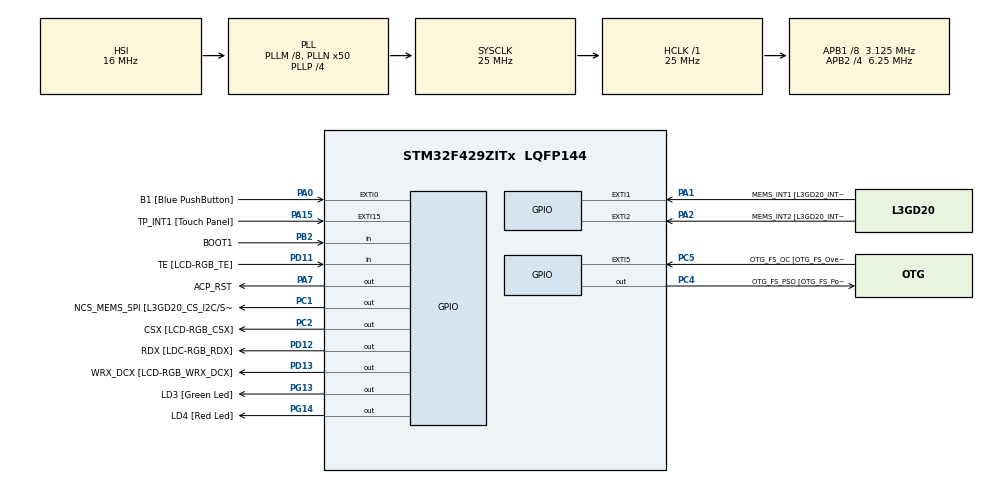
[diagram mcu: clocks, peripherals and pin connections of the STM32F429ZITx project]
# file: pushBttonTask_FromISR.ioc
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Mcu.Family=STM32F4
Mcu.Name=STM32F429ZITx
Mcu.Package=LQFP144
NVIC.EXTI0_IRQn=true\:6\:0\:true\:false\:true\:true\:true\:true
NVIC.PriorityGroup=NVIC_PRIORITYGROUP_4
NVIC.TIM6_DAC_IRQn=true\:15\:0\:false\:false\:true\:false\:true\:true
NVIC.TimeBase=TIM6_DAC_IRQn
NVIC.TimeBaseIP=TIM6
PA0/WKUP.GPIO_Label=B1 [Blue PushButton]
PA0/WKUP.GPIO_ModeDefaultEXTI=GPIO_MODE_IT_RISING
PA0/WKUP.GPIO_PuPd=GPIO_NOPULL
PA0/WKUP.Signal=GPXTI0
PA1.GPIO_Label=MEMS_INT1 [L3GD20_INT1]
PA1.GPIO_ModeDefaultEXTI=GPIO_MODE_EVT_RISING
PA1.GPIO_PuPd=GPIO_NOPULL
PA1.Signal=GPXTI1
PA10.GPIO_Label=STLINK_TX [STM32F103CBT6_PA2]
PA10.Signal=USART1_RX
PA11.GPIO_Label=R4
PA11.GPIO_Mode=GPIO_MODE_AF_PP
PA11.GPIO_PuPd=GPIO_NOPULL
PA11.GPIO_Speed=GPIO_SPEED_FREQ_LOW
PA11.Signal=LTDC_R4
PA12.GPIO_Label=R5
PA12.GPIO_Mode=GPIO_MODE_AF_PP
PA12.GPIO_PuPd=GPIO_NOPULL
PA12.GPIO_Speed=GPIO_SPEED_FREQ_LOW
PA12.Signal=LTDC_R5
PA13.GPIO_Label=SWDIO
PA13.Signal=SYS_JTMS-SWDIO
PA14.GPIO_Label=SWCLK
PA14.Signal=SYS_JTCK-SWCLK
PA15.GPIO_Label=TP_INT1 [Touch Panel]
PA15.GPIO_ModeDefaultEXTI=GPIO_MODE_EVT_RISING
PA15.GPIO_PuPd=GPIO_NOPULL
PA15.Signal=GPXTI15
PA2.GPIO_Label=MEMS_INT2 [L3GD20_INT2]
PA2.GPIO_ModeDefaultEXTI=GPIO_MODE_EVT_RISING
PA2.GPIO_PuPd=GPIO_NOPULL
PA2.Signal=GPXTI2
PA3.GPIO_Label=B5
PA3.GPIO_Mode=GPIO_MODE_AF_PP
PA3.GPIO_PuPd=GPIO_NOPULL
PA3.GPIO_Speed=GPIO_SPEED_FREQ_LOW
PA3.Signal=LTDC_B5
PA4.GPIO_Label=VSYNC
PA4.GPIO_Mode=GPIO_MODE_AF_PP
PA4.GPIO_PuPd=GPIO_NOPULL
PA4.GPIO_Speed=GPIO_SPEED_FREQ_LOW
PA4.Signal=LTDC_VSYNC
PA6.GPIO_Label=G2
PA6.GPIO_Mode=GPIO_MODE_AF_PP
PA6.GPIO_PuPd=GPIO_NOPULL
PA6.GPIO_Speed=GPIO_SPEED_FREQ_LOW
PA6.Signal=LTDC_G2
PA7.GPIO_Label=ACP_RST
PA7.GPIO_Mode=GPIO_MODE_OUTPUT_PP
PA7.GPIO_PuPd=GPIO_NOPULL
PA7.GPIO_Speed=GPIO_SPEED_FREQ_LOW
PA7.Signal=GPIO_Output
PA8.GPIO_Label=I2C3_SCL [ACP/RF_SCL]
PA8.GPIO_Mode=GPIO_MODE_AF_OD
PA8.GPIO_PuPd=GPIO_NOPULL
PA8.GPIO_Speed=GPIO_SPEED_FREQ_LOW
PA8.Signal=I2C3_SCL
PA9.GPIO_Label=STLINK_RX [STM32F103CBT6_PA3]
PA9.Signal=USART1_TX
PB0.GPIO_Label=R3
PB0.GPIO_Mode=GPIO_MODE_AF_PP
PB0.GPIO_PuPd=GPIO_NOPULL
PB0.GPIO_Speed=GPIO_SPEED_FREQ_LOW
PB0.Signal=LTDC_R3
PB1.GPIO_Label=R6
PB1.GPIO_Mode=GPIO_MODE_AF_PP
PB1.GPIO_PuPd=GPIO_NOPULL
PB1.GPIO_Speed=GPIO_SPEED_FREQ_LOW
PB1.Signal=LTDC_R6
PB10.GPIO_Label=G4
PB10.GPIO_Mode=GPIO_MODE_AF_PP
PB10.GPIO_PuPd=GPIO_NOPULL
PB10.GPIO_Speed=GPIO_SPEED_FREQ_LOW
PB10.Signal=LTDC_G4
PB11.GPIO_Label=G5
PB11.GPIO_Mode=GPIO_MODE_AF_PP
PB11.GPIO_PuPd=GPIO_NOPULL
PB11.GPIO_Speed=GPIO_SPEED_FREQ_LOW
PB11.Signal=LTDC_G5
PB12.GPIO_Label=OTG_HS_ID
PB12.GPIO_Mode=GPIO_MODE_AF_PP
PB12.GPIO_PuPd=GPIO_NOPULL
PB12.GPIO_Speed=GPIO_SPEED_FREQ_LOW
PB12.Signal=USB_OTG_HS_ID
PB13.GPIO_Label=VBUS_HS
PB13.GPIO_Mode=GPIO_MODE_INPUT
PB13.GPIO_PuPd=GPIO_NOPULL
PB13.Signal=USB_OTG_HS_VBUS
PB14.GPIO_Label=OTG_HS_DM
PB14.GPIO_Mode=GPIO_MODE_AF_PP
PB14.GPIO_PuPd=GPIO_NOPULL
PB14.GPIO_Speed=GPIO_SPEED_FREQ_LOW
PB14.Signal=USB_OTG_HS_DM
PB15.GPIO_Label=OTG_HS_DP
PB15.GPIO_Mode=GPIO_MODE_AF_PP
PB15.GPIO_PuPd=GPIO_NOPULL
PB15.GPIO_Speed=GPIO_SPEED_FREQ_LOW
PB15.Signal=USB_OTG_HS_DP
PB2/BOOT1.GPIO_Label=BOOT1
PB2/BOOT1.GPIO_Mode=GPIO_MODE_INPUT
PB2/BOOT1.GPIO_PuPd=GPIO_NOPULL
PB2/BOOT1.Signal=GPIO_Input
PB5.GPIO_Label=SDCKE1
PB5.GPIO_Mode=GPIO_MODE_AF_PP
PB5.GPIO_PuPd=GPIO_NOPULL
PB5.GPIO_Speed=GPIO_SPEED_FREQ_VERY_HIGH
PB5.Signal=FMC_SDCKE1
PB6.GPIO_Label=SDNE1 [SDRAM_CS]
PB6.GPIO_Mode=GPIO_MODE_AF_PP
PB6.GPIO_PuPd=GPIO_NOPULL
PB6.GPIO_Speed=GPIO_SPEED_FREQ_VERY_HIGH
PB6.Signal=FMC_SDNE1
PB8.GPIO_Label=B6
PB8.GPIO_Mode=GPIO_MODE_AF_PP
PB8.GPIO_PuPd=GPIO_NOPULL
PB8.GPIO_Speed=GPIO_SPEED_FREQ_LOW
PB8.Signal=LTDC_B6
PB9.GPIO_Label=B7
PB9.GPIO_Mode=GPIO_MODE_AF_PP
PB9.GPIO_PuPd=GPIO_NOPULL
PB9.GPIO_Speed=GPIO_SPEED_FREQ_LOW
PB9.Signal=LTDC_B7
PC0.GPIO_Label=SDNWE
PC0.GPIO_Mode=GPIO_MODE_AF_PP
PC0.GPIO_PuPd=GPIO_NOPULL
PC0.GPIO_Speed=GPIO_SPEED_FREQ_VERY_HIGH
PC0.Signal=FMC_SDNWE
PC1.GPIO_Label=NCS_MEMS_SPI [L3GD20_CS_I2C/SPI]
PC1.GPIO_Mode=GPIO_MODE_OUTPUT_PP
PC1.GPIO_PuPd=GPIO_NOPULL
PC1.GPIO_Speed=GPIO_SPEED_FREQ_LOW
PC1.Signal=GPIO_Output
PC10.GPIO_Label=R2
PC10.GPIO_Mode=GPIO_MODE_AF_PP
PC10.GPIO_PuPd=GPIO_NOPULL
PC10.GPIO_Speed=GPIO_SPEED_FREQ_LOW
PC10.Signal=LTDC_R2
PC14/OSC32_IN.GPIO_Label=PC14-OSC32_IN
PC14/OSC32_IN.Signal=RCC_OSC32_IN
PC15/OSC32_OUT.GPIO_Label=PC15-OSC32_OUT
PC15/OSC32_OUT.Signal=RCC_OSC32_OUT
PC2.GPIO_Label=CSX [LCD-RGB_CSX]
PC2.GPIO_Mode=GPIO_MODE_OUTPUT_PP
PC2.GPIO_PuPd=GPIO_NOPULL
PC2.GPIO_Speed=GPIO_SPEED_FREQ_LOW
PC2.Signal=GPIO_Output
PC4.GPIO_Label=OTG_FS_PSO [OTG_FS_PowerSwitchOn]
PC4.GPIO_Mode=GPIO_MODE_OUTPUT_PP
PC4.GPIO_PuPd=GPIO_NOPULL
PC4.GPIO_Speed=GPIO_SPEED_FREQ_LOW
PC4.Signal=GPIO_Output
PC5.GPIO_Label=OTG_FS_OC [OTG_FS_OverCurrent]
PC5.GPIO_ModeDefaultEXTI=GPIO_MODE_EVT_RISING
PC5.Signal=GPXTI5
PC6.GPIO_Label=HSYNC
PC6.GPIO_Mode=GPIO_MODE_AF_PP
PC6.GPIO_PuPd=GPIO_NOPULL
PC6.GPIO_Speed=GPIO_SPEED_FREQ_LOW
PC6.Signal=LTDC_HSYNC
PC7.GPIO_Label=G6
PC7.GPIO_Mode=GPIO_MODE_AF_PP
PC7.GPIO_PuPd=GPIO_NOPULL
PC7.GPIO_Speed=GPIO_SPEED_FREQ_LOW
PC7.Signal=LTDC_G6
PC9.GPIO_Label=I2C3_SDA [ACP/RF_SDA]
PC9.GPIO_Mode=GPIO_MODE_AF_OD
PC9.GPIO_PuPd=GPIO_NOPULL
PC9.GPIO_Speed=GPIO_SPEED_FREQ_LOW
PC9.Signal=I2C3_SDA
PD0.GPIO_Label=D2
PD0.GPIO_Mode=GPIO_MODE_AF_PP
PD0.GPIO_PuPd=GPIO_NOPULL
PD0.GPIO_Speed=GPIO_SPEED_FREQ_VERY_HIGH
PD0.Signal=FMC_D2_DA2
PD1.GPIO_Label=D3
PD1.GPIO_Mode=GPIO_MODE_AF_PP
PD1.GPIO_PuPd=GPIO_NOPULL
PD1.GPIO_Speed=GPIO_SPEED_FREQ_VERY_HIGH
PD1.Signal=FMC_D3_DA3
PD10.GPIO_Label=D15
PD10.GPIO_Mode=GPIO_MODE_AF_PP
PD10.GPIO_PuPd=GPIO_NOPULL
PD10.GPIO_Speed=GPIO_SPEED_FREQ_VERY_HIGH
PD10.Signal=FMC_D15_DA15
PD11.GPIO_Label=TE [LCD-RGB_TE]
PD11.GPIO_Mode=GPIO_MODE_INPUT
PD11.GPIO_PuPd=GPIO_NOPULL
PD11.Signal=GPIO_Input
PD12.GPIO_Label=RDX [LDC-RGB_RDX]
PD12.GPIO_Mode=GPIO_MODE_OUTPUT_PP
PD12.GPIO_PuPd=GPIO_NOPULL
PD12.GPIO_Speed=GPIO_SPEED_FREQ_LOW
PD12.Signal=GPIO_Output
PD13.GPIO_Label=WRX_DCX [LCD-RGB_WRX_DCX]
PD13.GPIO_Mode=GPIO_MODE_OUTPUT_PP
PD13.GPIO_PuPd=GPIO_NOPULL
PD13.GPIO_Speed=GPIO_SPEED_FREQ_LOW
PD13.Signal=GPIO_Output
PD14.GPIO_Label=D0
PD14.GPIO_Mode=GPIO_MODE_AF_PP
PD14.GPIO_PuPd=GPIO_NOPULL
PD14.GPIO_Speed=GPIO_SPEED_FREQ_VERY_HIGH
PD14.Signal=FMC_D0_DA0
PD15.GPIO_Label=D1
PD15.GPIO_Mode=GPIO_MODE_AF_PP
PD15.GPIO_PuPd=GPIO_NOPULL
PD15.GPIO_Speed=GPIO_SPEED_FREQ_VERY_HIGH
PD15.Signal=FMC_D1_DA1
PD3.GPIO_Label=G7
PD3.GPIO_Mode=GPIO_MODE_AF_PP
PD3.GPIO_PuPd=GPIO_NOPULL
PD3.GPIO_Speed=GPIO_SPEED_FREQ_LOW
PD3.Signal=LTDC_G7
PD6.GPIO_Label=B2
PD6.GPIO_Mode=GPIO_MODE_AF_PP
PD6.GPIO_PuPd=GPIO_NOPULL
PD6.GPIO_Speed=GPIO_SPEED_FREQ_LOW
PD6.Signal=LTDC_B2
PD8.GPIO_Label=D13
PD8.GPIO_Mode=GPIO_MODE_AF_PP
PD8.GPIO_PuPd=GPIO_NOPULL
PD8.GPIO_Speed=GPIO_SPEED_FREQ_VERY_HIGH
PD8.Signal=FMC_D13_DA13
PD9.GPIO_Label=D14
PD9.GPIO_Mode=GPIO_MODE_AF_PP
PD9.GPIO_PuPd=GPIO_NOPULL
PD9.GPIO_Speed=GPIO_SPEED_FREQ_VERY_HIGH
PD9.Signal=FMC_D14_DA14
PE0.GPIO_Label=NBL0 [SDRAM_LDQM]
PE0.GPIO_Mode=GPIO_MODE_AF_PP
PE0.GPIO_PuPd=GPIO_NOPULL
PE0.GPIO_Speed=GPIO_SPEED_FREQ_VERY_HIGH
PE0.Signal=FMC_NBL0
PE1.GPIO_Label=NBL1 [SDRAM_UDQM]
PE1.GPIO_Mode=GPIO_MODE_AF_PP
PE1.GPIO_PuPd=GPIO_NOPULL
PE1.GPIO_Speed=GPIO_SPEED_FREQ_VERY_HIGH
PE1.Signal=FMC_NBL1
PE10.GPIO_Label=D7
PE10.GPIO_Mode=GPIO_MODE_AF_PP
PE10.GPIO_PuPd=GPIO_NOPULL
PE10.GPIO_Speed=GPIO_SPEED_FREQ_VERY_HIGH
PE10.Signal=FMC_D7_DA7
PE11.GPIO_Label=D8
PE11.GPIO_Mode=GPIO_MODE_AF_PP
PE11.GPIO_PuPd=GPIO_NOPULL
PE11.GPIO_Speed=GPIO_SPEED_FREQ_VERY_HIGH
PE11.Signal=FMC_D8_DA8
PE12.GPIO_Label=D9
PE12.GPIO_Mode=GPIO_MODE_AF_PP
PE12.GPIO_PuPd=GPIO_NOPULL
PE12.GPIO_Speed=GPIO_SPEED_FREQ_VERY_HIGH
PE12.Signal=FMC_D9_DA9
PE13.GPIO_Label=D10
PE13.GPIO_Mode=GPIO_MODE_AF_PP
PE13.GPIO_PuPd=GPIO_NOPULL
PE13.GPIO_Speed=GPIO_SPEED_FREQ_VERY_HIGH
PE13.Signal=FMC_D10_DA10
PE14.GPIO_Label=D11
PE14.GPIO_Mode=GPIO_MODE_AF_PP
PE14.GPIO_PuPd=GPIO_NOPULL
PE14.GPIO_Speed=GPIO_SPEED_FREQ_VERY_HIGH
PE14.Signal=FMC_D11_DA11
PE15.GPIO_Label=D12
PE15.GPIO_Mode=GPIO_MODE_AF_PP
PE15.GPIO_PuPd=GPIO_NOPULL
PE15.GPIO_Speed=GPIO_SPEED_FREQ_VERY_HIGH
PE15.Signal=FMC_D12_DA12
PE7.GPIO_Label=D4
PE7.GPIO_Mode=GPIO_MODE_AF_PP
PE7.GPIO_PuPd=GPIO_NOPULL
PE7.GPIO_Speed=GPIO_SPEED_FREQ_VERY_HIGH
PE7.Signal=FMC_D4_DA4
PE8.GPIO_Label=D5
PE8.GPIO_Mode=GPIO_MODE_AF_PP
PE8.GPIO_PuPd=GPIO_NOPULL
PE8.GPIO_Speed=GPIO_SPEED_FREQ_VERY_HIGH
PE8.Signal=FMC_D5_DA5
PE9.GPIO_Label=D6
PE9.GPIO_Mode=GPIO_MODE_AF_PP
PE9.GPIO_PuPd=GPIO_NOPULL
PE9.GPIO_Speed=GPIO_SPEED_FREQ_VERY_HIGH
PE9.Signal=FMC_D6_DA6
PF0.GPIO_Label=A0
PF0.GPIO_Mode=GPIO_MODE_AF_PP
PF0.GPIO_PuPd=GPIO_NOPULL
PF0.GPIO_Speed=GPIO_SPEED_FREQ_VERY_HIGH
PF0.Signal=FMC_A0
PF1.GPIO_Label=A1
PF1.GPIO_Mode=GPIO_MODE_AF_PP
PF1.GPIO_PuPd=GPIO_NOPULL
PF1.GPIO_Speed=GPIO_SPEED_FREQ_VERY_HIGH
PF1.Signal=FMC_A1
PF10.GPIO_Label=ENABLE [LCD-RGB_ENABLE]
PF10.GPIO_Mode=GPIO_MODE_AF_PP
PF10.GPIO_PuPd=GPIO_NOPULL
PF10.GPIO_Speed=GPIO_SPEED_FREQ_LOW
PF10.Signal=LTDC_DE
PF11.GPIO_Label=SDNRAS
PF11.GPIO_Mode=GPIO_MODE_AF_PP
PF11.GPIO_PuPd=GPIO_NOPULL
PF11.GPIO_Speed=GPIO_SPEED_FREQ_VERY_HIGH
PF11.Signal=FMC_SDNRAS
PF12.GPIO_Label=A6
PF12.GPIO_Mode=GPIO_MODE_AF_PP
PF12.GPIO_PuPd=GPIO_NOPULL
PF12.GPIO_Speed=GPIO_SPEED_FREQ_VERY_HIGH
PF12.Signal=FMC_A6
PF13.GPIO_Label=A7
PF13.GPIO_Mode=GPIO_MODE_AF_PP
PF13.GPIO_PuPd=GPIO_NOPULL
PF13.GPIO_Speed=GPIO_SPEED_FREQ_VERY_HIGH
PF13.Signal=FMC_A7
PF14.GPIO_Label=A8
PF14.GPIO_Mode=GPIO_MODE_AF_PP
PF14.GPIO_PuPd=GPIO_NOPULL
PF14.GPIO_Speed=GPIO_SPEED_FREQ_VERY_HIGH
PF14.Signal=FMC_A8
PF15.GPIO_Label=A9
PF15.GPIO_Mode=GPIO_MODE_AF_PP
PF15.GPIO_PuPd=GPIO_NOPULL
PF15.GPIO_Speed=GPIO_SPEED_FREQ_VERY_HIGH
PF15.Signal=FMC_A9
PF2.GPIO_Label=A2
PF2.GPIO_Mode=GPIO_MODE_AF_PP
PF2.GPIO_PuPd=GPIO_NOPULL
PF2.GPIO_Speed=GPIO_SPEED_FREQ_VERY_HIGH
PF2.Signal=FMC_A2
PF3.GPIO_Label=A3
PF3.GPIO_Mode=GPIO_MODE_AF_PP
PF3.GPIO_PuPd=GPIO_NOPULL
PF3.GPIO_Speed=GPIO_SPEED_FREQ_VERY_HIGH
PF3.Signal=FMC_A3
PF4.GPIO_Label=A4
PF4.GPIO_Mode=GPIO_MODE_AF_PP
PF4.GPIO_PuPd=GPIO_NOPULL
PF4.GPIO_Speed=GPIO_SPEED_FREQ_VERY_HIGH
PF4.Signal=FMC_A4
PF5.GPIO_Label=A5
PF5.GPIO_Mode=GPIO_MODE_AF_PP
PF5.GPIO_PuPd=GPIO_NOPULL
PF5.GPIO_Speed=GPIO_SPEED_FREQ_VERY_HIGH
PF5.Signal=FMC_A5
PF7.GPIO_Label=SPI5_SCK [L3GD20_SCL/SPC]
PF7.GPIO_Mode=GPIO_MODE_AF_PP
PF7.GPIO_PuPd=GPIO_NOPULL
PF7.GPIO_Speed=GPIO_SPEED_FREQ_LOW
PF7.Signal=SPI5_SCK
PF8.GPIO_Label=SPI5_MISO [L3GD20_SDO]
PF8.GPIO_Mode=GPIO_MODE_AF_PP
PF8.GPIO_PuPd=GPIO_NOPULL
PF8.GPIO_Speed=GPIO_SPEED_FREQ_LOW
PF8.Signal=SPI5_MISO
PF9.GPIO_Label=SPI5_MOSI [L3GD20_SDA/SDI/SDO]
PF9.GPIO_Mode=GPIO_MODE_AF_PP
PF9.GPIO_PuPd=GPIO_NOPULL
PF9.GPIO_Speed=GPIO_SPEED_FREQ_LOW
PF9.Signal=SPI5_MOSI
PG0.GPIO_Label=A10
PG0.GPIO_Mode=GPIO_MODE_AF_PP
PG0.GPIO_PuPd=GPIO_NOPULL
PG0.GPIO_Speed=GPIO_SPEED_FREQ_VERY_HIGH
PG0.Signal=FMC_A10
PG1.GPIO_Label=A11
PG1.GPIO_Mode=GPIO_MODE_AF_PP
PG1.GPIO_PuPd=GPIO_NOPULL
PG1.GPIO_Speed=GPIO_SPEED_FREQ_VERY_HIGH
PG1.Signal=FMC_A11
PG10.GPIO_Label=G3
PG10.GPIO_Mode=GPIO_MODE_AF_PP
PG10.GPIO_PuPd=GPIO_NOPULL
PG10.GPIO_Speed=GPIO_SPEED_FREQ_LOW
PG10.Signal=LTDC_G3
PG11.GPIO_Label=B3
PG11.GPIO_Mode=GPIO_MODE_AF_PP
PG11.GPIO_PuPd=GPIO_NOPULL
PG11.GPIO_Speed=GPIO_SPEED_FREQ_LOW
PG11.Signal=LTDC_B3
PG12.GPIO_Label=B4
PG12.GPIO_Mode=GPIO_MODE_AF_PP
PG12.GPIO_PuPd=GPIO_NOPULL
PG12.GPIO_Speed=GPIO_SPEED_FREQ_LOW
PG12.Signal=LTDC_B4
PG13.GPIO_Label=LD3 [Green Led]
PG13.GPIO_Mode=GPIO_MODE_OUTPUT_PP
PG13.GPIO_PuPd=GPIO_NOPULL
PG13.GPIO_Speed=GPIO_SPEED_FREQ_LOW
PG13.Signal=GPIO_Output
PG14.GPIO_Label=LD4 [Red Led]
PG14.GPIO_Mode=GPIO_MODE_OUTPUT_PP
PG14.GPIO_PuPd=GPIO_NOPULL
PG14.GPIO_Speed=GPIO_SPEED_FREQ_LOW
PG14.Signal=GPIO_Output
PG15.GPIO_Label=SDNCAS
PG15.GPIO_Mode=GPIO_MODE_AF_PP
PG15.GPIO_PuPd=GPIO_NOPULL
PG15.GPIO_Speed=GPIO_SPEED_FREQ_VERY_HIGH
PG15.Signal=FMC_SDNCAS
PG4.GPIO_Label=BA0
PG4.GPIO_Mode=GPIO_MODE_AF_PP
PG4.GPIO_PuPd=GPIO_NOPULL
PG4.GPIO_Speed=GPIO_SPEED_FREQ_VERY_HIGH
PG4.Signal=FMC_A14_BA0
PG5.GPIO_Label=BA1
PG5.GPIO_Mode=GPIO_MODE_AF_PP
PG5.GPIO_PuPd=GPIO_NOPULL
PG5.GPIO_Speed=GPIO_SPEED_FREQ_VERY_HIGH
PG5.Signal=FMC_A15_BA1
PG6.GPIO_Label=R7
PG6.GPIO_Mode=GPIO_MODE_AF_PP
PG6.GPIO_PuPd=GPIO_NOPULL
PG6.GPIO_Speed=GPIO_SPEED_FREQ_LOW
PG6.Signal=LTDC_R7
PG7.GPIO_Label=DOTCLK [LCT-RGB_DOTCLK]
PG7.GPIO_Mode=GPIO_MODE_AF_PP
PG7.GPIO_PuPd=GPIO_NOPULL
PG7.GPIO_Speed=GPIO_SPEED_FREQ_LOW
PG7.Signal=LTDC_CLK
PG8.GPIO_Label=SDCLK
PG8.GPIO_Mode=GPIO_MODE_AF_PP
PG8.GPIO_PuPd=GPIO_NOPULL
PG8.GPIO_Speed=GPIO_SPEED_FREQ_VERY_HIGH
PG8.Signal=FMC_SDCLK
PH0/OSC_IN.GPIO_Label=PH0-OSC_IN
PH0/OSC_IN.Signal=RCC_OSC_IN
PH1/OSC_OUT.GPIO_Label=PH1-OSC_OUT
PH1/OSC_OUT.Signal=RCC_OSC_OUT
ProjectManager.HeapSize=0x200
ProjectManager.StackSize=0x400
ProjectManager.TargetToolchain=STM32CubeIDE
RCC.48MHZClocksFreq_Value=14285714.285714285
RCC.AHBFreq_Value=25000000
RCC.APB1CLKDivider=RCC_HCLK_DIV8
RCC.APB1Freq_Value=3125000
RCC.APB1TimFreq_Value=6250000
RCC.APB2CLKDivider=RCC_HCLK_DIV4
RCC.APB2Freq_Value=6250000
RCC.APB2TimFreq_Value=12500000
RCC.CortexFreq_Value=25000000
RCC.HCLKFreq_Value=25000000
RCC.HSE_VALUE=8000000
RCC.HSI_VALUE=16000000
RCC.LSE_VALUE=32768
RCC.PLLM=8
RCC.PLLN=50
RCC.PLLP=RCC_PLLP_DIV4
RCC.PLLQ=7
RCC.SYSCLKFreq_VALUE=25000000
RCC.SYSCLKSource=RCC_SYSCLKSOURCE_PLLCLK
RCC.VCOOutputFreq_Value=100000000
SH.FMC_A0.0=FMC_A0
SH.FMC_A1.0=FMC_A1
SH.FMC_A10.0=FMC_A10
SH.FMC_A11.0=FMC_A11
SH.FMC_A14_BA0.0=FMC_BA0
SH.FMC_A15_BA1.0=FMC_BA1
SH.FMC_A2.0=FMC_A2
SH.FMC_A3.0=FMC_A3
SH.FMC_A4.0=FMC_A4
SH.FMC_A5.0=FMC_A5
SH.FMC_A6.0=FMC_A6
SH.FMC_A7.0=FMC_A7
SH.FMC_A8.0=FMC_A8
SH.FMC_A9.0=FMC_A9
SH.FMC_D0_DA0.0=FMC_D0
SH.FMC_D10_DA10.0=FMC_D10
SH.FMC_D11_DA11.0=FMC_D11
SH.FMC_D12_DA12.0=FMC_D12
SH.FMC_D13_DA13.0=FMC_D13
SH.FMC_D14_DA14.0=FMC_D14
SH.FMC_D15_DA15.0=FMC_D15
SH.FMC_D1_DA1.0=FMC_D1
SH.FMC_D2_DA2.0=FMC_D2
SH.FMC_D3_DA3.0=FMC_D3
SH.FMC_D4_DA4.0=FMC_D4
SH.FMC_D5_DA5.0=FMC_D5
SH.FMC_D6_DA6.0=FMC_D6
SH.FMC_D7_DA7.0=FMC_D7
SH.FMC_D8_DA8.0=FMC_D8
SH.FMC_D9_DA9.0=FMC_D9
SH.FMC_NBL0.0=FMC_NBL0
SH.FMC_NBL1.0=FMC_NBL1
SH.FMC_SDCLK.0=FMC_SDCLK
SH.FMC_SDNCAS.0=FMC_SDNCAS
SH.FMC_SDNRAS.0=FMC_SDNRAS
SH.FMC_SDNWE.0=FMC_SDNWE
VP_SYS_VS_tim6.Mode=TIM6
board=STM32F429I-DISC1

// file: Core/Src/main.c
/* USER CODE BEGIN Header */
/**
  ******************************************************************************
  * @file           : main.c
  * @brief          : Main program body
  ******************************************************************************
  * @attention
  *
  * Copyright (c) 2022 STMicroelectronics.
  * All rights reserved.
  *
  * This software is licensed under terms that can be found in the LICENSE file
  * in the root directory of this software component.
  * If no LICENSE file comes with this software, it is provided AS-IS.
  *
  ******************************************************************************
  */
/* USER CODE END Header */
#include "main.h"

/* USER CODE BEGIN Includes */

#include "FreeRTOS.h"
#include "task.h"
#include <SEGGER_SYSVIEW.h>

/* USER CODE END Includes */

/* USER CODE BEGIN PV */

#define DWT_CTRL (*(volatile uint32_t*)0xE0001000)

/* USER CODE END PV */

void SystemClock_Config(void);
static void MX_GPIO_Init(void);
/* USER CODE BEGIN PFP */

static void ledGreenHandler(void* parameters);
static void ledRedHandler(void* parameters);

//static void button_handler(void* parameters);

/* USER CODE END PFP */

/* USER CODE BEGIN 0 */
 TaskHandle_t led_Green_handle;
 TaskHandle_t led_Red_Handle;
 TaskHandle_t button_Handle;

TaskHandle_t volatile next_task_handle = NULL;

/* USER CODE END 0 */

int main(void)
{
  /* USER CODE BEGIN 1 */

    BaseType_t status;

  /* USER CODE END 1 */

  /* MCU Configuration--------------------------------------------------------*/

  /* Reset of all peripherals, Initializes the Flash interface and the Systick. */
  HAL_Init();

  /* Configure the system clock */
  SystemClock_Config();

  /* Initialize all configured peripherals */
  MX_GPIO_Init();
  /* USER CODE BEGIN 2 */

  DWT_CTRL |= (1 << 0);

  SEGGER_SYSVIEW_Conf();
  SEGGER_SYSVIEW_Start();

  status = xTaskCreate(ledGreenHandler,"Led_Green_Task", 200, NULL, 2, &led_Green_handle);
  configASSERT(status == pdPASS);

  next_task_handle = led_Green_handle;

  status = xTaskCreate(ledRedHandler, "Led_Red_Task", 200, NULL, 1, &led_Red_Handle);
  configASSERT(status == pdPASS);

  //status = xTaskCreate(button_handler,"Button_Task", 200, NULL, 3, &button_Handle);
  //configASSERT(status == pdPASS);

  vTaskStartScheduler();

  //status = xTaskCreate(ledOrangeHandler, "Led_Orange_Handler", 200, NULL, 2, &task2_Handle);
 // configASSERT(status == pdPASS);

  /* WE START THE SCHEDULER HERE*/

  /* USER CODE END 2 */

  /* Infinite loop */
  while (1)
  {

  }
}

void SystemClock_Config(void)
{
  RCC_OscInitTypeDef RCC_OscInitStruct = {0};
  RCC_ClkInitTypeDef RCC_ClkInitStruct = {0};

  /** Configure the main internal regulator output voltage
  */
  __HAL_RCC_PWR_CLK_ENABLE();
  __HAL_PWR_VOLTAGESCALING_CONFIG(PWR_REGULATOR_VOLTAGE_SCALE3);

  /** Initializes the RCC Oscillators according to the specified parameters
  * in the RCC_OscInitTypeDef structure.
  */
  RCC_OscInitStruct.OscillatorType = RCC_OSCILLATORTYPE_HSI;
  RCC_OscInitStruct.HSIState = RCC_HSI_ON;
  RCC_OscInitStruct.HSICalibrationValue = RCC_HSICALIBRATION_DEFAULT;
  RCC_OscInitStruct.PLL.PLLState = RCC_PLL_ON;
  RCC_OscInitStruct.PLL.PLLSource = RCC_PLLSOURCE_HSI;
  RCC_OscInitStruct.PLL.PLLM = 8;
  RCC_OscInitStruct.PLL.PLLN = 50;
  RCC_OscInitStruct.PLL.PLLP = RCC_PLLP_DIV4;
  RCC_OscInitStruct.PLL.PLLQ = 7;
  if (HAL_RCC_OscConfig(&RCC_OscInitStruct) != HAL_OK)
  {
    Error_Handler();
  }

  /** Initializes the CPU, AHB and APB buses clocks
  */
  RCC_ClkInitStruct.ClockType = RCC_CLOCKTYPE_HCLK|RCC_CLOCKTYPE_SYSCLK
                              |RCC_CLOCKTYPE_PCLK1|RCC_CLOCKTYPE_PCLK2;
  RCC_ClkInitStruct.SYSCLKSource = RCC_SYSCLKSOURCE_PLLCLK;
  RCC_ClkInitStruct.AHBCLKDivider = RCC_SYSCLK_DIV1;
  RCC_ClkInitStruct.APB1CLKDivider = RCC_HCLK_DIV8;
  RCC_ClkInitStruct.APB2CLKDivider = RCC_HCLK_DIV4;

  if (HAL_RCC_ClockConfig(&RCC_ClkInitStruct, FLASH_LATENCY_0) != HAL_OK)
  {
    Error_Handler();
  }
}

static void MX_GPIO_Init(void)
{
  GPIO_InitTypeDef GPIO_InitStruct = {0};

  /* GPIO Ports Clock Enable */
  __HAL_RCC_GPIOC_CLK_ENABLE();
  __HAL_RCC_GPIOF_CLK_ENABLE();
  __HAL_RCC_GPIOH_CLK_ENABLE();
  __HAL_RCC_GPIOA_CLK_ENABLE();
  __HAL_RCC_GPIOB_CLK_ENABLE();
  __HAL_RCC_GPIOG_CLK_ENABLE();
  __HAL_RCC_GPIOE_CLK_ENABLE();
  __HAL_RCC_GPIOD_CLK_ENABLE();

  /*Configure GPIO pin Output Level */
  HAL_GPIO_WritePin(GPIOC, NCS_MEMS_SPI_Pin|CSX_Pin|OTG_FS_PSO_Pin, GPIO_PIN_RESET);

  /*Configure GPIO pin Output Level */
  HAL_GPIO_WritePin(ACP_RST_GPIO_Port, ACP_RST_Pin, GPIO_PIN_RESET);

  /*Configure GPIO pin Output Level */
  HAL_GPIO_WritePin(GPIOD, RDX_Pin|WRX_DCX_Pin, GPIO_PIN_RESET);

  /*Configure GPIO pin Output Level */
  HAL_GPIO_WritePin(GPIOG, LD3_Pin|LD4_Pin, GPIO_PIN_RESET);

  /*Configure GPIO pins : A0_Pin A1_Pin A2_Pin A3_Pin
                           A4_Pin A5_Pin SDNRAS_Pin A6_Pin
                           A7_Pin A8_Pin A9_Pin */
  GPIO_InitStruct.Pin = A0_Pin|A1_Pin|A2_Pin|A3_Pin
                          |A4_Pin|A5_Pin|SDNRAS_Pin|A6_Pin
                          |A7_Pin|A8_Pin|A9_Pin;
  GPIO_InitStruct.Mode = GPIO_MODE_AF_PP;
  GPIO_InitStruct.Pull = GPIO_NOPULL;
  GPIO_InitStruct.Speed = GPIO_SPEED_FREQ_VERY_HIGH;
  GPIO_InitStruct.Alternate = GPIO_AF12_FMC;
  HAL_GPIO_Init(GPIOF, &GPIO_InitStruct);

  /*Configure GPIO pins : SPI5_SCK_Pin SPI5_MISO_Pin SPI5_MOSI_Pin */
  GPIO_InitStruct.Pin = SPI5_SCK_Pin|SPI5_MISO_Pin|SPI5_MOSI_Pin;
  GPIO_InitStruct.Mode = GPIO_MODE_AF_PP;
  GPIO_InitStruct.Pull = GPIO_NOPULL;
  GPIO_InitStruct.Speed = GPIO_SPEED_FREQ_LOW;
  GPIO_InitStruct.Alternate = GPIO_AF5_SPI5;
  HAL_GPIO_Init(GPIOF, &GPIO_InitStruct);

  /*Configure GPIO pin : ENABLE_Pin */
  GPIO_InitStruct.Pin = ENABLE_Pin;
  GPIO_InitStruct.Mode = GPIO_MODE_AF_PP;
  GPIO_InitStruct.Pull = GPIO_NOPULL;
  GPIO_InitStruct.Speed = GPIO_SPEED_FREQ_LOW;
  GPIO_InitStruct.Alternate = GPIO_AF14_LTDC;
  HAL_GPIO_Init(ENABLE_GPIO_Port, &GPIO_InitStruct);

  /*Configure GPIO pin : SDNWE_Pin */
  GPIO_InitStruct.Pin = SDNWE_Pin;
  GPIO_InitStruct.Mode = GPIO_MODE_AF_PP;
  GPIO_InitStruct.Pull = GPIO_NOPULL;
  GPIO_InitStruct.Speed = GPIO_SPEED_FREQ_VERY_HIGH;
  GPIO_InitStruct.Alternate = GPIO_AF12_FMC;
  HAL_GPIO_Init(SDNWE_GPIO_Port, &GPIO_InitStruct);

  /*Configure GPIO pins : NCS_MEMS_SPI_Pin CSX_Pin OTG_FS_PSO_Pin */
  GPIO_InitStruct.Pin = NCS_MEMS_SPI_Pin|CSX_Pin|OTG_FS_PSO_Pin;
  GPIO_InitStruct.Mode = GPIO_MODE_OUTPUT_PP;
  GPIO_InitStruct.Pull = GPIO_NOPULL;
  GPIO_InitStruct.Speed = GPIO_SPEED_FREQ_LOW;
  HAL_GPIO_Init(GPIOC, &GPIO_InitStruct);

  /*Configure GPIO pin : B1_Pin */
  GPIO_InitStruct.Pin = B1_Pin;
  GPIO_InitStruct.Mode = GPIO_MODE_IT_FALLING;
  GPIO_InitStruct.Pull = GPIO_NOPULL;
  HAL_GPIO_Init(B1_GPIO_Port, &GPIO_InitStruct);

  /*Configure GPIO pins : MEMS_INT1_Pin MEMS_INT2_Pin TP_INT1_Pin */
  GPIO_InitStruct.Pin = MEMS_INT1_Pin|MEMS_INT2_Pin|TP_INT1_Pin;
  GPIO_InitStruct.Mode = GPIO_MODE_EVT_RISING;
  GPIO_InitStruct.Pull = GPIO_NOPULL;
  HAL_GPIO_Init(GPIOA, &GPIO_InitStruct);

  /*Configure GPIO pins : B5_Pin VSYNC_Pin G2_Pin R4_Pin
                           R5_Pin */
  GPIO_InitStruct.Pin = B5_Pin|VSYNC_Pin|G2_Pin|R4_Pin
                          |R5_Pin;
  GPIO_InitStruct.Mode = GPIO_MODE_AF_PP;
  GPIO_InitStruct.Pull = GPIO_NOPULL;
  GPIO_InitStruct.Speed = GPIO_SPEED_FREQ_LOW;
  GPIO_InitStruct.Alternate = GPIO_AF14_LTDC;
  HAL_GPIO_Init(GPIOA, &GPIO_InitStruct);

  /*Configure GPIO pin : ACP_RST_Pin */
  GPIO_InitStruct.Pin = ACP_RST_Pin;
  GPIO_InitStruct.Mode = GPIO_MODE_OUTPUT_PP;
  GPIO_InitStruct.Pull = GPIO_NOPULL;
  GPIO_InitStruct.Speed = GPIO_SPEED_FREQ_LOW;
  HAL_GPIO_Init(ACP_RST_GPIO_Port, &GPIO_InitStruct);

  /*Configure GPIO pin : OTG_FS_OC_Pin */
  GPIO_InitStruct.Pin = OTG_FS_OC_Pin;
  GPIO_InitStruct.Mode = GPIO_MODE_EVT_RISING;
  GPIO_InitStruct.Pull = GPIO_NOPULL;
  HAL_GPIO_Init(OTG_FS_OC_GPIO_Port, &GPIO_InitStruct);

  /*Configure GPIO pins : R3_Pin R6_Pin */
  GPIO_InitStruct.Pin = R3_Pin|R6_Pin;
  GPIO_InitStruct.Mode = GPIO_MODE_AF_PP;
  GPIO_InitStruct.Pull = GPIO_NOPULL;
  GPIO_InitStruct.Speed = GPIO_SPEED_FREQ_LOW;
  GPIO_InitStruct.Alternate = GPIO_AF9_LTDC;
  HAL_GPIO_Init(GPIOB, &GPIO_InitStruct);

  /*Configure GPIO pin : BOOT1_Pin */
  GPIO_InitStruct.Pin = BOOT1_Pin;
  GPIO_InitStruct.Mode = GPIO_MODE_INPUT;
  GPIO_InitStruct.Pull = GPIO_NOPULL;
  HAL_GPIO_Init(BOOT1_GPIO_Port, &GPIO_InitStruct);

  /*Configure GPIO pins : A10_Pin A11_Pin BA0_Pin BA1_Pin
                           SDCLK_Pin SDNCAS_Pin */
  GPIO_InitStruct.Pin = A10_Pin|A11_Pin|BA0_Pin|BA1_Pin
                          |SDCLK_Pin|SDNCAS_Pin;
  GPIO_InitStruct.Mode = GPIO_MODE_AF_PP;
  GPIO_InitStruct.Pull = GPIO_NOPULL;
  GPIO_InitStruct.Speed = GPIO_SPEED_FREQ_VERY_HIGH;
  GPIO_InitStruct.Alternate = GPIO_AF12_FMC;
  HAL_GPIO_Init(GPIOG, &GPIO_InitStruct);

  /*Configure GPIO pins : D4_Pin D5_Pin D6_Pin D7_Pin
                           D8_Pin D9_Pin D10_Pin D11_Pin
                           D12_Pin NBL0_Pin NBL1_Pin */
  GPIO_InitStruct.Pin = D4_Pin|D5_Pin|D6_Pin|D7_Pin
                          |D8_Pin|D9_Pin|D10_Pin|D11_Pin
                          |D12_Pin|NBL0_Pin|NBL1_Pin;
  GPIO_InitStruct.Mode = GPIO_MODE_AF_PP;
  GPIO_InitStruct.Pull = GPIO_NOPULL;
  GPIO_InitStruct.Speed = GPIO_SPEED_FREQ_VERY_HIGH;
  GPIO_InitStruct.Alternate = GPIO_AF12_FMC;
  HAL_GPIO_Init(GPIOE, &GPIO_InitStruct);

  /*Configure GPIO pins : G4_Pin G5_Pin B6_Pin B7_Pin */
  GPIO_InitStruct.Pin = G4_Pin|G5_Pin|B6_Pin|B7_Pin;
  GPIO_InitStruct.Mode = GPIO_MODE_AF_PP;
  GPIO_InitStruct.Pull = GPIO_NOPULL;
  GPIO_InitStruct.Speed = GPIO_SPEED_FREQ_LOW;
  GPIO_InitStruct.Alternate = GPIO_AF14_LTDC;
  HAL_GPIO_Init(GPIOB, &GPIO_InitStruct);

  /*Configure GPIO pins : OTG_HS_ID_Pin OTG_HS_DM_Pin OTG_HS_DP_Pin */
  GPIO_InitStruct.Pin = OTG_HS_ID_Pin|OTG_HS_DM_Pin|OTG_HS_DP_Pin;
  GPIO_InitStruct.Mode = GPIO_MODE_AF_PP;
  GPIO_InitStruct.Pull = GPIO_NOPULL;
  GPIO_InitStruct.Speed = GPIO_SPEED_FREQ_LOW;
  GPIO_InitStruct.Alternate = GPIO_AF12_OTG_HS_FS;
  HAL_GPIO_Init(GPIOB, &GPIO_InitStruct);

  /*Configure GPIO pin : VBUS_HS_Pin */
  GPIO_InitStruct.Pin = VBUS_HS_Pin;
  GPIO_InitStruct.Mode = GPIO_MODE_INPUT;
  GPIO_InitStruct.Pull = GPIO_NOPULL;
  HAL_GPIO_Init(VBUS_HS_GPIO_Port, &GPIO_InitStruct);

  /*Configure GPIO pins : D13_Pin D14_Pin D15_Pin D0_Pin
                           D1_Pin D2_Pin D3_Pin */
  GPIO_InitStruct.Pin = D13_Pin|D14_Pin|D15_Pin|D0_Pin
                          |D1_Pin|D2_Pin|D3_Pin;
  GPIO_InitStruct.Mode = GPIO_MODE_AF_PP;
  GPIO_InitStruct.Pull = GPIO_NOPULL;
  GPIO_InitStruct.Speed = GPIO_SPEED_FREQ_VERY_HIGH;
  GPIO_InitStruct.Alternate = GPIO_AF12_FMC;
  HAL_GPIO_Init(GPIOD, &GPIO_InitStruct);

  /*Configure GPIO pin : TE_Pin */
  GPIO_InitStruct.Pin = TE_Pin;
  GPIO_InitStruct.Mode = GPIO_MODE_INPUT;
  GPIO_InitStruct.Pull = GPIO_NOPULL;
  HAL_GPIO_Init(TE_GPIO_Port, &GPIO_InitStruct);

  /*Configure GPIO pins : RDX_Pin WRX_DCX_Pin */
  GPIO_InitStruct.Pin = RDX_Pin|WRX_DCX_Pin;
  GPIO_InitStruct.Mode = GPIO_MODE_OUTPUT_PP;
  GPIO_InitStruct.Pull = GPIO_NOPULL;
  GPIO_InitStruct.Speed = GPIO_SPEED_FREQ_LOW;
  HAL_GPIO_Init(GPIOD, &GPIO_InitStruct);

  /*Configure GPIO pins : R7_Pin DOTCLK_Pin B3_Pin */
  GPIO_InitStruct.Pin = R7_Pin|DOTCLK_Pin|B3_Pin;
  GPIO_InitStruct.Mode = GPIO_MODE_AF_PP;
  GPIO_InitStruct.Pull = GPIO_NOPULL;
  GPIO_InitStruct.Speed = GPIO_SPEED_FREQ_LOW;
  GPIO_InitStruct.Alternate = GPIO_AF14_LTDC;
  HAL_GPIO_Init(GPIOG, &GPIO_InitStruct);

  /*Configure GPIO pins : HSYNC_Pin G6_Pin R2_Pin */
  GPIO_InitStruct.Pin = HSYNC_Pin|G6_Pin|R2_Pin;
  GPIO_InitStruct.Mode = GPIO_MODE_AF_PP;
  GPIO_InitStruct.Pull = GPIO_NOPULL;
  GPIO_InitStruct.Speed = GPIO_SPEED_FREQ_LOW;
  GPIO_InitStruct.Alternate = GPIO_AF14_LTDC;
  HAL_GPIO_Init(GPIOC, &GPIO_InitStruct);

  /*Configure GPIO pin : I2C3_SDA_Pin */
  GPIO_InitStruct.Pin = I2C3_SDA_Pin;
  GPIO_InitStruct.Mode = GPIO_MODE_AF_OD;
  GPIO_InitStruct.Pull = GPIO_NOPULL;
  GPIO_InitStruct.Speed = GPIO_SPEED_FREQ_LOW;
  GPIO_InitStruct.Alternate = GPIO_AF4_I2C3;
  HAL_GPIO_Init(I2C3_SDA_GPIO_Port, &GPIO_InitStruct);

  /*Configure GPIO pin : I2C3_SCL_Pin */
  GPIO_InitStruct.Pin = I2C3_SCL_Pin;
  GPIO_InitStruct.Mode = GPIO_MODE_AF_OD;
  GPIO_InitStruct.Pull = GPIO_NOPULL;
  GPIO_InitStruct.Speed = GPIO_SPEED_FREQ_LOW;
  GPIO_InitStruct.Alternate = GPIO_AF4_I2C3;
  HAL_GPIO_Init(I2C3_SCL_GPIO_Port, &GPIO_InitStruct);

  /*Configure GPIO pins : STLINK_RX_Pin STLINK_TX_Pin */
  GPIO_InitStruct.Pin = STLINK_RX_Pin|STLINK_TX_Pin;
  GPIO_InitStruct.Mode = GPIO_MODE_AF_PP;
  GPIO_InitStruct.Pull = GPIO_NOPULL;
  GPIO_InitStruct.Speed = GPIO_SPEED_FREQ_VERY_HIGH;
  GPIO_InitStruct.Alternate = GPIO_AF7_USART1;
  HAL_GPIO_Init(GPIOA, &GPIO_InitStruct);

  /*Configure GPIO pins : G7_Pin B2_Pin */
  GPIO_InitStruct.Pin = G7_Pin|B2_Pin;
  GPIO_InitStruct.Mode = GPIO_MODE_AF_PP;
  GPIO_InitStruct.Pull = GPIO_NOPULL;
  GPIO_InitStruct.Speed = GPIO_SPEED_FREQ_LOW;
  GPIO_InitStruct.Alternate = GPIO_AF14_LTDC;
  HAL_GPIO_Init(GPIOD, &GPIO_InitStruct);

  /*Configure GPIO pins : G3_Pin B4_Pin */
  GPIO_InitStruct.Pin = G3_Pin|B4_Pin;
  GPIO_InitStruct.Mode = GPIO_MODE_AF_PP;
  GPIO_InitStruct.Pull = GPIO_NOPULL;
  GPIO_InitStruct.Speed = GPIO_SPEED_FREQ_LOW;
  GPIO_InitStruct.Alternate = GPIO_AF9_LTDC;
  HAL_GPIO_Init(GPIOG, &GPIO_InitStruct);

  /*Configure GPIO pins : LD3_Pin LD4_Pin */
  GPIO_InitStruct.Pin = LD3_Pin|LD4_Pin;
  GPIO_InitStruct.Mode = GPIO_MODE_OUTPUT_PP;
  GPIO_InitStruct.Pull = GPIO_NOPULL;
  GPIO_InitStruct.Speed = GPIO_SPEED_FREQ_LOW;
  HAL_GPIO_Init(GPIOG, &GPIO_InitStruct);

  /*Configure GPIO pins : SDCKE1_Pin SDNE1_Pin */
  GPIO_InitStruct.Pin = SDCKE1_Pin|SDNE1_Pin;
  GPIO_InitStruct.Mode = GPIO_MODE_AF_PP;
  GPIO_InitStruct.Pull = GPIO_NOPULL;
  GPIO_InitStruct.Speed = GPIO_SPEED_FREQ_VERY_HIGH;
  GPIO_InitStruct.Alternate = GPIO_AF12_FMC;
  HAL_GPIO_Init(GPIOB, &GPIO_InitStruct);

  /* EXTI interrupt init*/
  HAL_NVIC_SetPriority(EXTI0_IRQn, 6, 0);
  HAL_NVIC_EnableIRQ(EXTI0_IRQn);

}

/* USER CODE BEGIN 4 */

static void ledGreenHandler(void* parameters){

	BaseType_t  status;

	while(1)
		{

		SEGGER_SYSVIEW_PrintfTarget("Toggling for Green Led");
		HAL_GPIO_TogglePin(GPIOG, ledGreen);
		status = xTaskNotifyWait(0,0,NULL,pdMS_TO_TICKS(800));

		if(status == pdTRUE)
		{
			portENTER_CRITICAL();
			next_task_handle = led_Red_Handle;

			HAL_GPIO_WritePin(GPIOG, ledGreen,GPIO_PIN_SET); // TURN ON THE LED BEFORE DELETING
			SEGGER_SYSVIEW_PrintfTarget("Delete GREEN LED task");
			portEXIT_CRITICAL();
			vTaskDelete(NULL); // WE USE NULL SINCE THE TASK IS DELETING ITSELF

		}

	}

}

static void ledRedHandler(void* parameters){

	BaseType_t status;

	while(1)
		{

		SEGGER_SYSVIEW_PrintfTarget("Toggling Red Led");
		HAL_GPIO_TogglePin(GPIOG, ledRed);
		status = xTaskNotifyWait(0,0,NULL,pdMS_TO_TICKS(1000));

		if(status == pdTRUE)
		{
			portENTER_CRITICAL();
			next_task_handle = NULL;

			HAL_GPIO_WritePin(GPIOG, ledRed,GPIO_PIN_SET); // TURN ON THE LED BEFORE DELETING
			SEGGER_SYSVIEW_PrintfTarget("Delete RED LED task");
			portEXIT_CRITICAL();
			vTaskDelete(NULL); // WE USE NULL SINCE THE TASK IS DELETING ITSELF

		}

	}

}

void button_interrupt_handler(void)
{
	BaseType_t pxHigherPriorityTaskWoken;

	pxHigherPriorityTaskWoken = pdFALSE;

	traceISR_ENTER();// we put this because of the Segger software we use in tracing
	xTaskNotifyFromISR(next_task_handle,0,eNoAction, &pxHigherPriorityTaskWoken);
	/* once the ISR exits, the below macro makes higher priority task which got unblocked to resume on the CPU */
	portYIELD_FROM_ISR(pxHigherPriorityTaskWoken);
	traceISR_EXIT();

}

/* USER CODE END 4 */

void HAL_TIM_PeriodElapsedCallback(TIM_HandleTypeDef *htim)
{
  if (htim->Instance == TIM6) {
    HAL_IncTick();
  }
}

void Error_Handler(void)
{
  __disable_irq();
  while (1)
  {
  }
}
